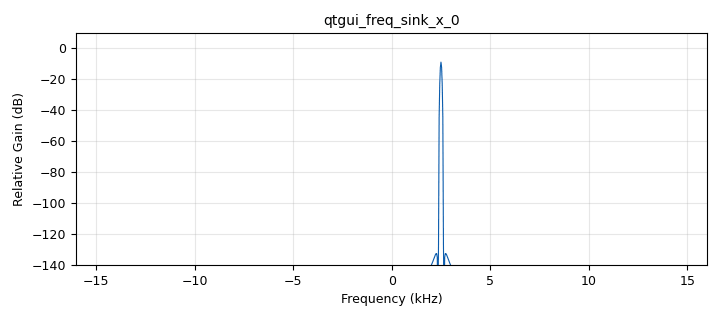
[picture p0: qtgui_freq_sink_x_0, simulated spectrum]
<?xml version='1.0' encoding='utf-8'?>
<?grc format='1' created='3.7.11'?>
<flow_graph>
<block>
<key>options</key>
<param><key>id</key><value>variable_config_demo</value></param>
<param><key>author</key><value>Example</value></param>
<param><key>description</key><value>Save to ~/Github/gnuradio/test.grc</value></param>
<param><key>generate_options</key><value>qt_gui</value></param>
<param><key>title</key><value>Variable Config Demonstration</value></param>
</block>
<block>
<key>variable_qtgui_range</key>
<param><key>id</key><value>freq</value></param>
<param><key>value</key><value>1e3</value></param>
<param><key>label</key><value>Frequency (Hz)</value></param>
<param><key>orient</key><value>Qt.Horizontal</value></param>
<param><key>start</key><value>-5e3</value></param>
<param><key>step</key><value>1</value></param>
<param><key>stop</key><value>5e3</value></param>
</block>
<block>
<key>variable_config</key>
<param><key>id</key><value>freq_init</value></param>
<param><key>config_file</key><value>default</value></param>
<param><key>value</key><value>1000</value></param>
<param><key>option</key><value>freq</value></param>
<param><key>section</key><value>main</value></param>
<param><key>type</key><value>real</value></param>
<param><key>writeback</key><value>1000</value></param>
</block>
<block>
<key>variable</key>
<param><key>id</key><value>samp_rate</value></param>
<param><key>value</key><value>32000</value></param>
</block>
<block>
<key>analog_sig_source_x</key>
<param><key>id</key><value>analog_sig_source_x_0</value></param>
<param><key>amp</key><value>1</value></param>
<param><key>freq</key><value>2500</value></param>
<param><key>offset</key><value>0</value></param>
<param><key>type</key><value>complex</value></param>
<param><key>samp_rate</key><value>samp_rate</value></param>
<param><key>waveform</key><value>analog.GR_COS_WAVE</value></param>
</block>
<block>
<key>blocks_throttle</key>
<param><key>id</key><value>blocks_throttle_0</value></param>
<param><key>samples_per_second</key><value>samp_rate</value></param>
<param><key>type</key><value>complex</value></param>
</block>
<block>
<key>qtgui_freq_sink_x</key>
<param><key>id</key><value>qtgui_freq_sink_x_0</value></param>
<param><key>bw</key><value>samp_rate</value></param>
<param><key>fc</key><value>0</value></param>
<param><key>fftsize</key><value>1024</value></param>
<param><key>showports</key><value>True</value></param>
<param><key>type</key><value>complex</value></param>
<param><key>wintype</key><value>firdes.WIN_BLACKMAN_hARRIS</value></param>
</block>
<connection><source_block_id>analog_sig_source_x_0</source_block_id><sink_block_id>blocks_throttle_0</sink_block_id><source_key>0</source_key><sink_key>0</sink_key></connection>
<connection><source_block_id>blocks_throttle_0</source_block_id><sink_block_id>qtgui_freq_sink_x_0</sink_block_id><source_key>0</source_key><sink_key>0</sink_key></connection>
</flow_graph>
